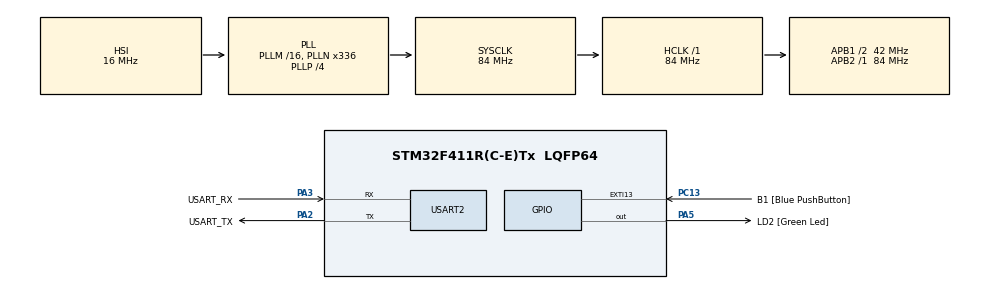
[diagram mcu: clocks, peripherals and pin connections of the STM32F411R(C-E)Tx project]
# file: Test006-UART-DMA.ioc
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Dma.Request0=USART2_RX
Dma.USART2_RX.0.Direction=DMA_PERIPH_TO_MEMORY
Dma.USART2_RX.0.FIFOMode=DMA_FIFOMODE_DISABLE
Dma.USART2_RX.0.Instance=DMA1_Stream5
Dma.USART2_RX.0.MemDataAlignment=DMA_MDATAALIGN_BYTE
Dma.USART2_RX.0.MemInc=DMA_MINC_ENABLE
Dma.USART2_RX.0.Mode=DMA_CIRCULAR
Dma.USART2_RX.0.PeriphDataAlignment=DMA_PDATAALIGN_BYTE
Dma.USART2_RX.0.PeriphInc=DMA_PINC_DISABLE
Dma.USART2_RX.0.Priority=DMA_PRIORITY_LOW
Mcu.Family=STM32F4
Mcu.Name=STM32F411R(C-E)Tx
Mcu.Package=LQFP64
NVIC.DMA1_Stream5_IRQn=true\:0\:0\:false\:false\:true\:false\:true\:true
NVIC.EXTI15_10_IRQn=true\:0\:0\:false\:false\:true\:true\:true\:true
NVIC.PriorityGroup=NVIC_PRIORITYGROUP_0
PA13.GPIO_Label=TMS
PA13.Mode=Serial_Wire
PA13.Signal=SYS_JTMS-SWDIO
PA14.GPIO_Label=TCK
PA14.Mode=Serial_Wire
PA14.Signal=SYS_JTCK-SWCLK
PA2.GPIO_Label=USART_TX
PA2.Mode=Asynchronous
PA2.Signal=USART2_TX
PA3.GPIO_Label=USART_RX
PA3.Mode=Asynchronous
PA3.Signal=USART2_RX
PA5.GPIO_Label=LD2 [Green Led]
PA5.Signal=GPIO_Output
PB3.GPIO_Label=SWO
PB3.Signal=SYS_JTDO-SWO
PC13-ANTI_TAMP.GPIO_Label=B1 [Blue PushButton]
PC13-ANTI_TAMP.GPIO_ModeDefaultEXTI=GPIO_MODE_IT_FALLING
PC13-ANTI_TAMP.Signal=GPXTI13
PC14-OSC32_IN.Mode=LSE-External-Oscillator
PC14-OSC32_IN.Signal=RCC_OSC32_IN
PC15-OSC32_OUT.Mode=LSE-External-Oscillator
PC15-OSC32_OUT.Signal=RCC_OSC32_OUT
PH0\ -\ OSC_IN.Mode=HSE-External-Clock-Source
PH0\ -\ OSC_IN.Signal=RCC_OSC_IN
PH1\ -\ OSC_OUT.Mode=HSE-External-Clock-Source
PH1\ -\ OSC_OUT.Signal=RCC_OSC_OUT
ProjectManager.HeapSize=0x200
ProjectManager.StackSize=0x400
ProjectManager.TargetToolchain=STM32CubeIDE
RCC.48MHZClocksFreq_Value=84000000
RCC.AHBFreq_Value=84000000
RCC.APB1CLKDivider=RCC_HCLK_DIV2
RCC.APB1Freq_Value=42000000
RCC.APB1TimFreq_Value=84000000
RCC.APB2Freq_Value=84000000
RCC.APB2TimFreq_Value=84000000
RCC.CortexFreq_Value=84000000
RCC.FLatency-AdvancedSettings=FLASH_LATENCY_2
RCC.HCLKFreq_Value=84000000
RCC.HSE_VALUE=8000000
RCC.HSI_VALUE=16000000
RCC.PLLN=336
RCC.PLLP=RCC_PLLP_DIV4
RCC.SYSCLKFreq_VALUE=84000000
RCC.SYSCLKSource=RCC_SYSCLKSOURCE_PLLCLK
RCC.VCOOutputFreq_Value=336000000
USART2.VirtualMode=VM_ASYNC
board=NUCLEO-F411RE

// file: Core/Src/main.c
/* USER CODE BEGIN Header */
/**
  ******************************************************************************
  * @file           : main.c
  * @brief          : Main program body
  ******************************************************************************
  * @attention
  *
  * Copyright (c) 2024 STMicroelectronics.
  * All rights reserved.
  *
  * This software is licensed under terms that can be found in the LICENSE file
  * in the root directory of this software component.
  * If no LICENSE file comes with this software, it is provided AS-IS.
  *
  ******************************************************************************
  */
/* USER CODE END Header */
#include "main.h"

/* USER CODE BEGIN Includes */
#include "myLib.h"
/* USER CODE END Includes */

/* USER CODE BEGIN PM */
extern myBuffer Buf;
//char buf[100];
/* USER CODE END PM */

UART_HandleTypeDef huart2;
DMA_HandleTypeDef hdma_usart2_rx;

void SystemClock_Config(void);
static void MX_GPIO_Init(void);
static void MX_DMA_Init(void);
static void MX_USART2_UART_Init(void);

/* USER CODE BEGIN 0 */
void HAL_UART_RxCpltCallback(UART_HandleTypeDef *huart)
{

}
int n = 1;
void HAL_GPIO_EXTI_Callback(uint16_t GPIO_Pin)
{
	if(GPIO_Pin == B1_Pin) // n = 1, 2, 4, 8(Echo mode)
	{
		if((n <<= 1) > 8) n = 1;  // n *= 2
	}
}

/* USER CODE END 0 */

int main(void)
{

  /* MCU Configuration--------------------------------------------------------*/

  /* Reset of all peripherals, Initializes the Flash interface and the Systick. */
  HAL_Init();

  /* Configure the system clock */
  SystemClock_Config();

  /* Initialize all configured peripherals */
  MX_GPIO_Init();
  MX_DMA_Init();
  MX_USART2_UART_Init();
  /* USER CODE BEGIN 2 */

  ProgramStart("UART - DMA");
  HAL_UART_Receive_DMA(&huart2, &Buf, MAX_BUF);
  /* USER CODE END 2 */

  /* Infinite loop */
  /* USER CODE BEGIN WHILE */
  cls();
  printf("Memory dump mode\r\n");
  while (1)
  {

    /* USER CODE END WHILE */

    /* USER CODE BEGIN 3 */
	if(n == 8) // KBD echo mode
	{
		char arr[100];
		if(GetBuffer(arr))  // > 0
		{
			printf("%s\r\n", arr);
		}
		HAL_Delay(500);
	}
	else
	{
	  printf("\033[3;0H\n");
	  Dump(n);
	  HAL_Delay(200);
	}
  }
  /* USER CODE END 3 */
}

void SystemClock_Config(void)
{
  RCC_OscInitTypeDef RCC_OscInitStruct = {0};
  RCC_ClkInitTypeDef RCC_ClkInitStruct = {0};

  /** Configure the main internal regulator output voltage
  */
  __HAL_RCC_PWR_CLK_ENABLE();
  __HAL_PWR_VOLTAGESCALING_CONFIG(PWR_REGULATOR_VOLTAGE_SCALE1);

  /** Initializes the RCC Oscillators according to the specified parameters
  * in the RCC_OscInitTypeDef structure.
  */
  RCC_OscInitStruct.OscillatorType = RCC_OSCILLATORTYPE_HSI;
  RCC_OscInitStruct.HSIState = RCC_HSI_ON;
  RCC_OscInitStruct.HSICalibrationValue = RCC_HSICALIBRATION_DEFAULT;
  RCC_OscInitStruct.PLL.PLLState = RCC_PLL_ON;
  RCC_OscInitStruct.PLL.PLLSource = RCC_PLLSOURCE_HSI;
  RCC_OscInitStruct.PLL.PLLM = 16;
  RCC_OscInitStruct.PLL.PLLN = 336;
  RCC_OscInitStruct.PLL.PLLP = RCC_PLLP_DIV4;
  RCC_OscInitStruct.PLL.PLLQ = 4;
  if (HAL_RCC_OscConfig(&RCC_OscInitStruct) != HAL_OK)
  {
    Error_Handler();
  }

  /** Initializes the CPU, AHB and APB buses clocks
  */
  RCC_ClkInitStruct.ClockType = RCC_CLOCKTYPE_HCLK|RCC_CLOCKTYPE_SYSCLK
                              |RCC_CLOCKTYPE_PCLK1|RCC_CLOCKTYPE_PCLK2;
  RCC_ClkInitStruct.SYSCLKSource = RCC_SYSCLKSOURCE_PLLCLK;
  RCC_ClkInitStruct.AHBCLKDivider = RCC_SYSCLK_DIV1;
  RCC_ClkInitStruct.APB1CLKDivider = RCC_HCLK_DIV2;
  RCC_ClkInitStruct.APB2CLKDivider = RCC_HCLK_DIV1;

  if (HAL_RCC_ClockConfig(&RCC_ClkInitStruct, FLASH_LATENCY_2) != HAL_OK)
  {
    Error_Handler();
  }
}

static void MX_USART2_UART_Init(void)
{

  huart2.Instance = USART2;
  huart2.Init.BaudRate = 115200;
  huart2.Init.WordLength = UART_WORDLENGTH_8B;
  huart2.Init.StopBits = UART_STOPBITS_1;
  huart2.Init.Parity = UART_PARITY_NONE;
  huart2.Init.Mode = UART_MODE_TX_RX;
  huart2.Init.HwFlowCtl = UART_HWCONTROL_NONE;
  huart2.Init.OverSampling = UART_OVERSAMPLING_16;
  if (HAL_UART_Init(&huart2) != HAL_OK)
  {
    Error_Handler();
  }

}

static void MX_DMA_Init(void)
{

  /* DMA controller clock enable */
  __HAL_RCC_DMA1_CLK_ENABLE();

  /* DMA interrupt init */
  /* DMA1_Stream5_IRQn interrupt configuration */
  HAL_NVIC_SetPriority(DMA1_Stream5_IRQn, 0, 0);
  HAL_NVIC_EnableIRQ(DMA1_Stream5_IRQn);

}

static void MX_GPIO_Init(void)
{
  GPIO_InitTypeDef GPIO_InitStruct = {0};

  /* GPIO Ports Clock Enable */
  __HAL_RCC_GPIOC_CLK_ENABLE();
  __HAL_RCC_GPIOH_CLK_ENABLE();
  __HAL_RCC_GPIOA_CLK_ENABLE();
  __HAL_RCC_GPIOB_CLK_ENABLE();

  /*Configure GPIO pin Output Level */
  HAL_GPIO_WritePin(LD2_GPIO_Port, LD2_Pin, GPIO_PIN_RESET);

  /*Configure GPIO pin : B1_Pin */
  GPIO_InitStruct.Pin = B1_Pin;
  GPIO_InitStruct.Mode = GPIO_MODE_IT_FALLING;
  GPIO_InitStruct.Pull = GPIO_NOPULL;
  HAL_GPIO_Init(B1_GPIO_Port, &GPIO_InitStruct);

  /*Configure GPIO pin : LD2_Pin */
  GPIO_InitStruct.Pin = LD2_Pin;
  GPIO_InitStruct.Mode = GPIO_MODE_OUTPUT_PP;
  GPIO_InitStruct.Pull = GPIO_NOPULL;
  GPIO_InitStruct.Speed = GPIO_SPEED_FREQ_LOW;
  HAL_GPIO_Init(LD2_GPIO_Port, &GPIO_InitStruct);

  /* EXTI interrupt init*/
  HAL_NVIC_SetPriority(EXTI15_10_IRQn, 0, 0);
  HAL_NVIC_EnableIRQ(EXTI15_10_IRQn);

}

void Error_Handler(void)
{
  __disable_irq();
  while (1)
  {
  }
}
